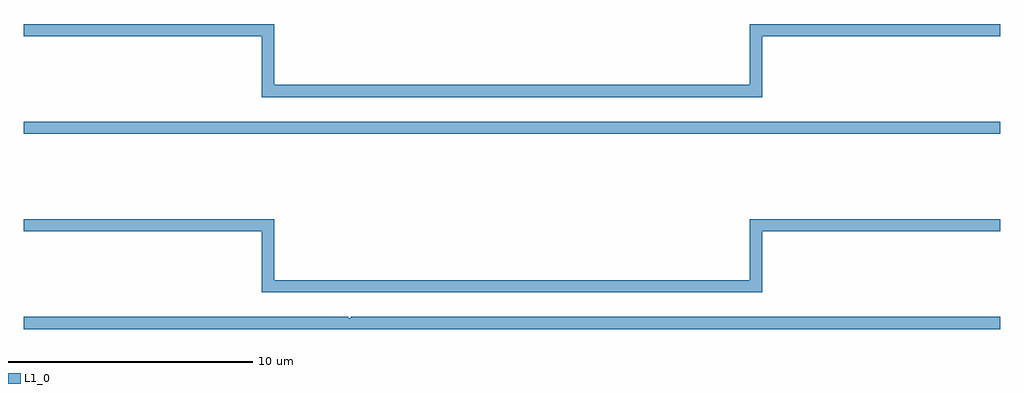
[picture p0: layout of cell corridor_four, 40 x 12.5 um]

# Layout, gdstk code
import gdstk
lib = gdstk.Library(unit=1e-6, precision=1e-09)
def P(c, l, *ps):  # polygons
    for p in ps: c.add(gdstk.Polygon(p, *l))
L1_0 = (1, 0)

corridor_four = lib.new_cell('corridor_four')
P(corridor_four, L1_0, [(0,-0.25),(0,0.25),(13.283,0.25),(13.283,0.2),(13.383,0.2),(13.383,0.25),(40,0.25),(40,-0.25)])
corridor_four.add(gdstk.FlexPath([(0,4),(10,4),(10,1.5),(30,1.5),(30,4),(40,4)], 0.5, ends="flush", simple_path=True, layer=1, datatype=0))  # L1_0
corridor_four.add(gdstk.FlexPath([(0,8),(40,8)], 0.5, ends="flush", simple_path=True, layer=1, datatype=0))  # L1_0
corridor_four.add(gdstk.FlexPath([(0,12),(10,12),(10,9.5),(30,9.5),(30,12),(40,12)], 0.5, ends="flush", simple_path=True, layer=1, datatype=0))  # L1_0

lib.write_gds('corridor_four.gds')
